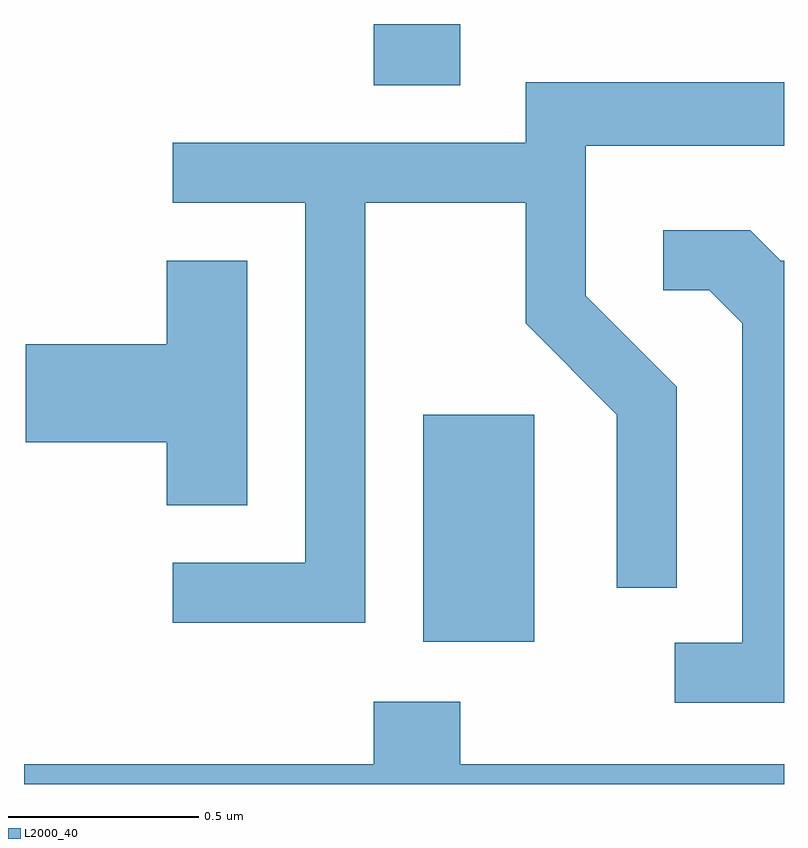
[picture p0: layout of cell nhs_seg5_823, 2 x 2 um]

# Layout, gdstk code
import gdstk
lib = gdstk.Library(unit=1e-6, precision=1e-09)
def R(c, l, rs):  # rectangles x0, y0, x1, y1
    for r in rs: c.add(gdstk.rectangle(r[:2], r[2:], *l))
def P(c, l, *ps):  # polygons
    for p in ps: c.add(gdstk.Polygon(p, *l))
L2000_40 = (2000, 40)

nhs_seg5_823 = lib.new_cell('nhs_seg5_823')
R(nhs_seg5_823, L2000_40, [(192.661,1397.446,192.954,1398.044), (192.531,1398.911,192.759,1399.072)])
P(nhs_seg5_823, L2000_40, [(192.509,1398.601),(192.931,1398.601),(192.931,1398.284),(193.171,1398.044),(193.171,1397.588),(193.329,1397.588),(193.329,1398.117),(193.089,1398.357),(193.089,1398.751),(193.611,1398.751),(193.611,1398.919),(192.931,1398.919),(192.931,1398.759),(192.003,1398.759),(192.003,1398.601),(192.351,1398.601),(192.351,1397.654),(192.003,1397.654),(192.003,1397.496),(192.509,1397.496)],
  [(193.611,1398.449),(193.602,1398.449),(193.522,1398.529),(193.293,1398.529),(193.293,1398.371),(193.414,1398.371),(193.501,1398.284),(193.501,1397.444),(193.323,1397.444),(193.323,1397.286),(193.611,1397.286)],
  [(192.199,1398.449),(191.986,1398.449),(191.986,1398.229),(191.616,1398.229),(191.616,1397.971),(191.986,1397.971),(191.986,1397.806),(192.199,1397.806)],
  [(193.611,1397.124),(192.759,1397.124),(192.759,1397.289),(192.531,1397.289),(192.531,1397.124),(191.611,1397.124),(191.611,1397.072),(193.611,1397.072)])

lib.write_gds('nhs_seg5_823.gds')
